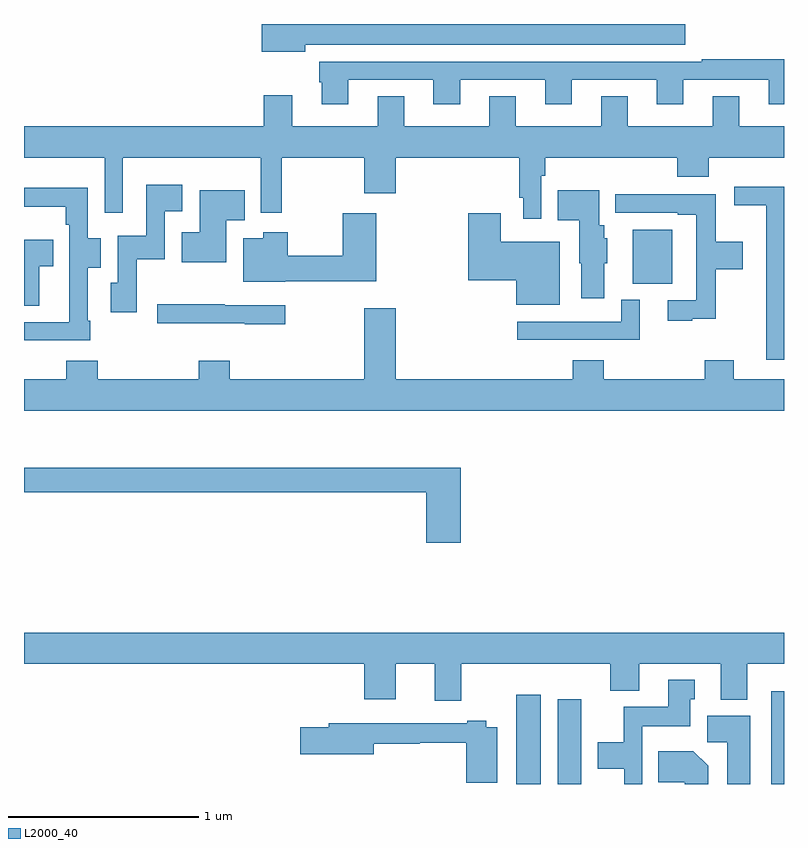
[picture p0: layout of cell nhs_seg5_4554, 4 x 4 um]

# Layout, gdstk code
import gdstk
lib = gdstk.Library(unit=1e-6, precision=1e-09)
def R(c, l, rs):  # rectangles x0, y0, x1, y1
    for r in rs: c.add(gdstk.rectangle(r[:2], r[2:], *l))
def P(c, l, *ps):  # polygons
    for p in ps: c.add(gdstk.Polygon(p, *l))
L2000_40 = (2000, 40)

nhs_seg5_4554 = lib.new_cell('nhs_seg5_4554')
R(nhs_seg5_4554, L2000_40, [(381.59,850.799,381.721,851.269), (381.809,850.799,381.934,851.245), (382.934,850.799,383,851.287), (382.205,853.433,382.411,853.717)])
P(nhs_seg5_4554, L2000_40, [(380.479,854.69),(382.48,854.69),(382.48,854.799),(380.25,854.799),(380.25,854.654),(380.479,854.654)],
  [(380.707,854.505),(381.155,854.505),(381.155,854.376),(381.295,854.376),(381.295,854.505),(381.743,854.505),(381.743,854.376),(381.883,854.376),(381.883,854.505),(382.331,854.505),(382.331,854.376),(382.471,854.376),(382.471,854.505),(382.919,854.505),(382.919,854.376),(383,854.376),(383,854.614),(382.567,854.614),(382.567,854.601),(380.555,854.601),(380.555,854.493),(380.567,854.493),(380.567,854.376),(380.707,854.376)],
  [(381.723,854),(381.743,854),(381.743,854.096),(382.439,854.096),(382.439,853.994),(382.604,853.994),(382.604,854.096),(383,854.096),(383,854.26),(382.765,854.26),(382.765,854.42),(382.625,854.42),(382.625,854.26),(382.177,854.26),(382.177,854.42),(382.037,854.42),(382.037,854.26),(381.589,854.26),(381.589,854.42),(381.449,854.42),(381.449,854.26),(381.001,854.26),(381.001,854.42),(380.861,854.42),(380.861,854.26),(380.413,854.26),(380.413,854.425),(380.261,854.425),(380.261,854.26),(379,854.26),(379,854.096),(379.425,854.096),(379.425,853.806),(379.521,853.806),(379.521,854.096),(380.247,854.096),(380.247,853.806),(380.356,853.806),(380.356,854.096),(380.792,854.096),(380.792,853.908),(380.956,853.908),(380.956,854.096),(381.607,854.096),(381.607,853.885),(381.627,853.885),(381.627,853.773),(381.723,853.773)],
  [(379.593,853.562),(379.74,853.562),(379.74,853.814),(379.834,853.814),(379.834,853.954),(379.644,853.954),(379.644,853.684),(379.494,853.684),(379.494,853.437),(379.457,853.437),(379.457,853.281),(379.593,853.281)],
  [(383,853.942),(382.737,853.942),(382.737,853.844),(382.907,853.844),(382.907,853.032),(383,853.032)],
  [(379.348,853.237),(379.335,853.237),(379.335,853.516),(379.405,853.516),(379.405,853.671),(379.335,853.671),(379.335,853.936),(379,853.936),(379,853.838),(379.219,853.838),(379.219,853.742),(379.239,853.742),(379.239,853.427),(379.238,853.427),(379.238,853.23),(379,853.23),(379,853.134),(379.348,853.134)],
  [(380.065,853.766),(380.162,853.766),(380.162,853.924),(379.925,853.924),(379.925,853.702),(379.829,853.702),(379.829,853.544),(380.065,853.544)],
  [(382.054,853.539),(382.069,853.539),(382.069,853.671),(382.054,853.671),(382.054,853.74),(382.027,853.74),(382.027,853.924),(381.808,853.924),(381.808,853.766),(381.923,853.766),(381.923,853.539),(381.932,853.539),(381.932,853.356),(382.054,853.356)],
  [(382.517,853.247),(382.64,853.247),(382.64,853.507),(382.783,853.507),(382.783,853.654),(382.64,853.654),(382.64,853.902),(382.355,853.902),(382.355,853.904),(382.113,853.904),(382.113,853.806),(382.442,853.806),(382.442,853.794),(382.539,853.794),(382.539,853.344),(382.389,853.344),(382.389,853.236),(382.517,853.236)],
  [(381.82,853.654),(381.508,853.654),(381.508,853.804),(381.338,853.804),(381.338,853.451),(381.59,853.451),(381.59,853.322),(381.82,853.322)],
  [(380.376,853.444),(380.855,853.444),(380.855,853.804),(380.677,853.804),(380.677,853.58),(380.388,853.58),(380.388,853.702),(380.258,853.702),(380.258,853.672),(380.153,853.672),(380.153,853.442),(380.376,853.442)],
  [(379.081,853.523),(379.154,853.523),(379.154,853.663),(379,853.663),(379,853.315),(379.081,853.315)],
  [(382.24,853.348),(382.143,853.348),(382.143,853.233),(381.597,853.233),(381.597,853.137),(382.24,853.137)],
  [(380.374,853.32),(380.057,853.32),(380.057,853.323),(379.701,853.323),(379.701,853.223),(380.161,853.223),(380.161,853.219),(380.374,853.219)],
  [(383,852.928),(382.735,852.928),(382.735,853.03),(382.583,853.03),(382.583,852.928),(382.052,852.928),(382.052,853.03),(381.887,853.03),(381.887,852.928),(380.956,852.928),(380.956,853.303),(380.792,853.303),(380.792,852.928),(380.084,852.928),(380.084,853.027),(379.919,853.027),(379.919,852.928),(379.388,852.928),(379.388,853.027),(379.223,853.027),(379.223,852.928),(379,852.928),(379,852.764),(383,852.764)],
  [(381.299,852.463),(379,852.463),(379,852.334),(381.116,852.334),(381.116,852.069),(381.299,852.069)],
  [(381.301,851.432),(382.085,851.432),(382.085,851.291),(382.237,851.291),(382.237,851.432),(382.667,851.432),(382.667,851.243),(382.807,851.243),(382.807,851.432),(383,851.432),(383,851.596),(379,851.596),(379,851.432),(380.792,851.432),(380.792,851.244),(380.956,851.244),(380.956,851.432),(381.161,851.432),(381.161,851.238),(381.301,851.238)],
  [(382.254,851.102),(382.507,851.102),(382.507,851.244),(382.531,851.244),(382.531,851.347),(382.391,851.347),(382.391,851.206),(382.156,851.206),(382.156,851.02),(382.019,851.02),(382.019,850.88),(382.158,850.88),(382.158,850.799),(382.254,850.799)],
  [(382.822,851.158),(382.595,851.158),(382.595,851.02),(382.7,851.02),(382.7,850.799),(382.822,850.799)],
  [(381.49,851.098),(381.432,851.098),(381.432,851.131),(381.332,851.131),(381.332,851.118),(380.603,851.118),(380.603,851.097),(380.454,851.097),(380.454,850.955),(380.842,850.955),(380.842,851.01),(381.084,851.01),(381.084,851.017),(381.328,851.017),(381.328,850.805),(381.49,850.805)],
  [(382.6,850.894),(382.522,850.972),(382.339,850.972),(382.339,850.808),(382.478,850.808),(382.478,850.799),(382.6,850.799)])

lib.write_gds('nhs_seg5_4554.gds')
